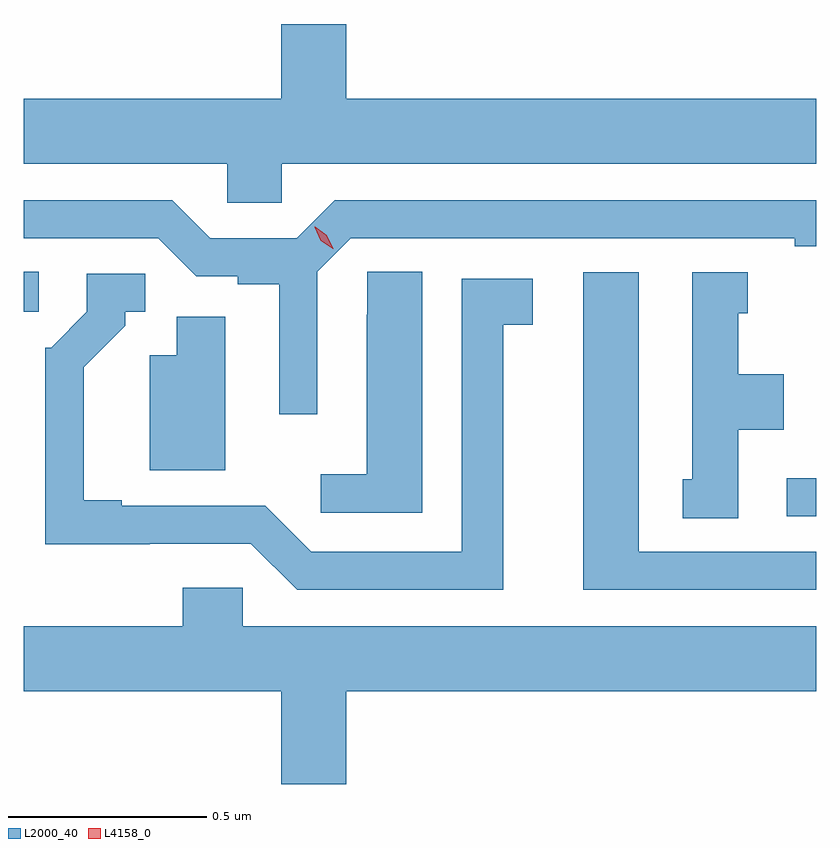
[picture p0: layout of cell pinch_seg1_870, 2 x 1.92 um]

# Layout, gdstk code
import gdstk
lib = gdstk.Library(unit=1e-6, precision=1e-09)
def R(c, l, rs):  # rectangles x0, y0, x1, y1
    for r in rs: c.add(gdstk.rectangle(r[:2], r[2:], *l))
def P(c, l, *ps):  # polygons
    for p in ps: c.add(gdstk.Polygon(p, *l))
L2000_40 = (2000, 40)
L4158_0 = (4158, 0)

pinch_seg1_870 = lib.new_cell('pinch_seg1_870')
R(pinch_seg1_870, L2000_40, [(418.032,538.854,418.106,538.95), (416.106,539.37,416.143,539.471)])
P(pinch_seg1_870, L2000_40, [(416.757,539.744),(418.106,539.744),(418.106,539.908),(416.92,539.908),(416.92,540.097),(416.756,540.097),(416.756,539.908),(416.106,539.908),(416.106,539.744),(416.619,539.744),(416.619,539.646),(416.757,539.646)],
  [(416.847,539.472),(416.931,539.556),(418.052,539.556),(418.052,539.536),(418.106,539.536),(418.106,539.652),(416.891,539.652),(416.795,539.556),(416.577,539.556),(416.481,539.652),(416.106,539.652),(416.106,539.556),(416.445,539.556),(416.541,539.46),(416.646,539.46),(416.646,539.44),(416.75,539.44),(416.75,539.112),(416.847,539.112)],
  [(417.112,539.471),(416.973,539.471),(416.973,539.363),(416.972,539.363),(416.972,538.96),(416.856,538.96),(416.856,538.863),(417.112,538.863)],
  [(418.106,538.764),(417.658,538.764),(417.658,539.47),(417.518,539.47),(417.518,538.668),(418.106,538.668)],
  [(417.91,539.072),(418.024,539.072),(418.024,539.212),(417.91,539.212),(417.91,539.367),(417.934,539.367),(417.934,539.47),(417.794,539.47),(417.794,538.947),(417.77,538.947),(417.77,538.849),(417.91,538.849)],
  [(417.316,539.338),(417.391,539.338),(417.391,539.454),(417.212,539.454),(417.212,538.764),(416.832,538.764),(416.715,538.881),(416.353,538.881),(416.353,538.894),(416.257,538.894),(416.257,539.23),(416.362,539.335),(416.362,539.37),(416.412,539.37),(416.412,539.466),(416.265,539.466),(416.265,539.37),(416.175,539.28),(416.16,539.28),(416.16,538.784),(416.423,538.784),(416.423,538.785),(416.679,538.785),(416.796,538.668),(417.316,538.668)],
  [(416.614,539.358),(416.492,539.358),(416.492,539.26),(416.423,539.26),(416.423,538.97),(416.614,538.97)],
  [(416.92,538.412),(418.106,538.412),(418.106,538.576),(416.658,538.576),(416.658,538.674),(416.507,538.674),(416.507,538.576),(416.106,538.576),(416.106,538.412),(416.756,538.412),(416.756,538.178),(416.92,538.178)])
P(pinch_seg1_870, L4158_0, [(416.886,539.529),(416.856,539.55),(416.84,539.584),(416.84,539.585),(416.841,539.585),(416.871,539.563),(416.887,539.529),(416.887,539.529)])

lib.write_gds('pinch_seg1_870.gds')
